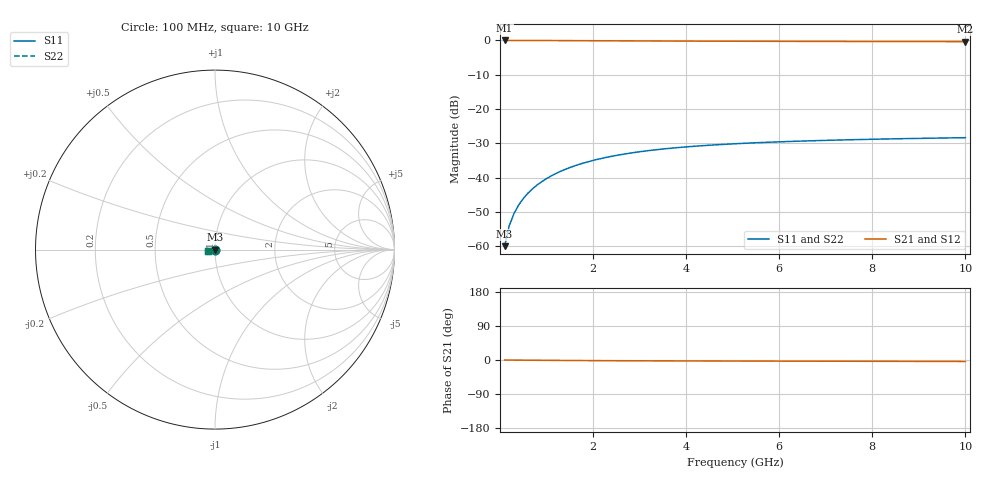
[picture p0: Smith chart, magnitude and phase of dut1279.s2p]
! Touchstone file exported from HFSS 2024.1.0
!  File:  C:/UserFiles/LocalFiles/RDL_TSV_Batchsim/temp_TSV1_1279_1780255095.aedt
!  Generated:  03:23:36 AM Jun  1, 2026
!  Design:  TSV1
!  Project:  temp_TSV1_1279_1780255095
!  Setup:  Setup1
!  Solution:  Sweep
! Variables:
!  dtsv = 10.48um
!  hbump = 3um
!  htsv = 59.24um
!  lrdl = 252.1521522um
!  p = 40
!  p1 = 42.45um
!  t = 500um
!  trdl = 3um
!  wrdl = 24.89489489um
# GHz S MA R 50.000000
! Terminal data exported
! Port[1] = TSV22_T1
! Port[2] = TSV22_T2
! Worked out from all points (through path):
!   100 points, 100 MHz to 10 GHz, reference 50 ohm
!   highest |S21| = 0.00 dB at 100 MHz (marker M1); lowest = -0.3 dB at 10 GHz (marker M2)
!   lowest |S11| = -60.0 dB at 100 MHz (marker M3), VSWR 1.00, Z = 50 - j0.0999 ohm
!   |S11| at or under -10 dB: start of sweep to end of sweep
!   |S22| runs from -60.0 to -28.3 dB; largest |S21 - S12| = 2.1e-15
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0.1  0.001002 -85.1  0.9999 -0.1  0.9999 -0.1  0.001002 -85.1
! Gamma 0 0 0 0
! Port Impedance 50 0 50 0
0.2  0.001993 -89.9  0.9998 -0.2  0.9998 -0.2  0.001993 -89.9
0.3  0.002983 -92.6  0.9996 -0.3  0.9996 -0.3  0.002983 -92.6
0.4  0.003969 -94.7  0.9994 -0.4  0.9994 -0.4  0.003969 -94.7
0.5  0.004948 -96.6  0.9992 -0.5  0.9992 -0.5  0.004948 -96.6
0.6  0.005919 -98.4  0.9989 -0.6  0.9989 -0.6  0.005919 -98.4
0.7  0.006879 -100.1  0.9985 -0.6  0.9985 -0.6  0.006879 -100.1
0.8  0.007828 -101.7  0.9981 -0.7  0.9981 -0.7  0.007828 -101.7
0.9  0.008762 -103.3  0.9976 -0.8  0.9976 -0.8  0.008762 -103.3
1.1  0.01058 -106.3  0.9966 -1.0  0.9966 -1.0  0.01058 -106.3
1.4  0.01318 -110.6  0.9949 -1.2  0.9949 -1.2  0.01318 -110.6
1.6  0.01481 -113.4  0.9937 -1.3  0.9937 -1.3  0.01481 -113.4
1.8  0.01636 -116.0  0.9924 -1.5  0.9924 -1.5  0.01636 -116.0
2.1  0.01851 -119.8  0.9904 -1.6  0.9904 -1.6  0.01851 -119.8
2.5  0.02108 -124.4  0.9877 -1.9  0.9877 -1.9  0.02108 -124.4
2.9  0.02332 -128.6  0.9851 -2.0  0.9851 -2.0  0.02332 -128.6
3.4  0.02571 -133.4  0.982 -2.2  0.982 -2.2  0.02571 -133.4
4.2  0.02875 -139.9  0.9777 -2.5  0.9777 -2.5  0.02875 -139.9
5.1  0.03132 -146.0  0.9736 -2.8  0.9736 -2.8  0.03132 -146.0
6.7  0.03448 -154.4  0.9683 -3.1  0.9683 -3.1  0.03448 -154.4
8.4  0.03672 -161.3  0.9644 -3.5  0.9644 -3.5  0.03672 -161.3
10  0.03824 -166.7  0.9618 -3.9  0.9618 -3.9  0.03824 -166.7
